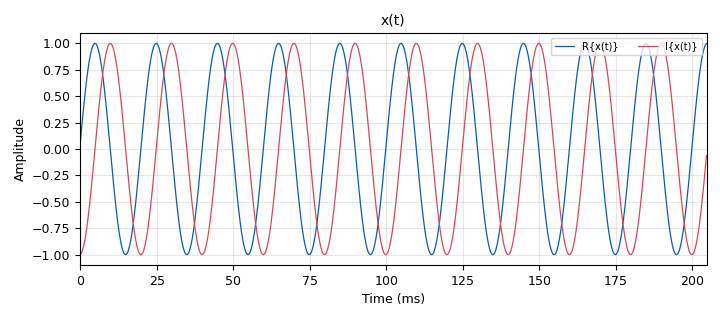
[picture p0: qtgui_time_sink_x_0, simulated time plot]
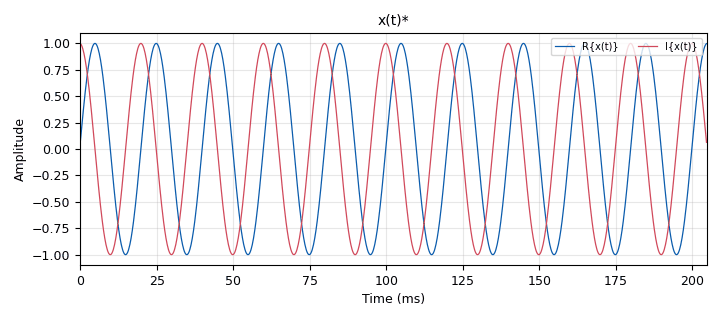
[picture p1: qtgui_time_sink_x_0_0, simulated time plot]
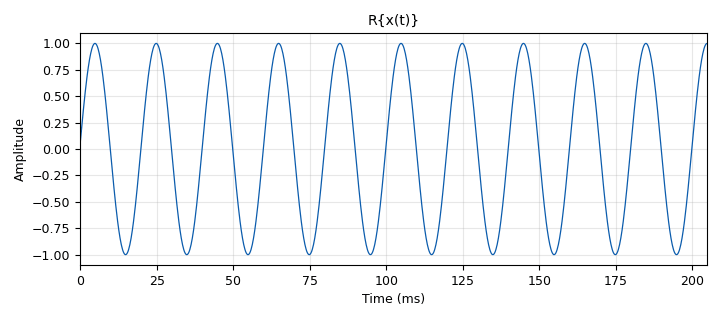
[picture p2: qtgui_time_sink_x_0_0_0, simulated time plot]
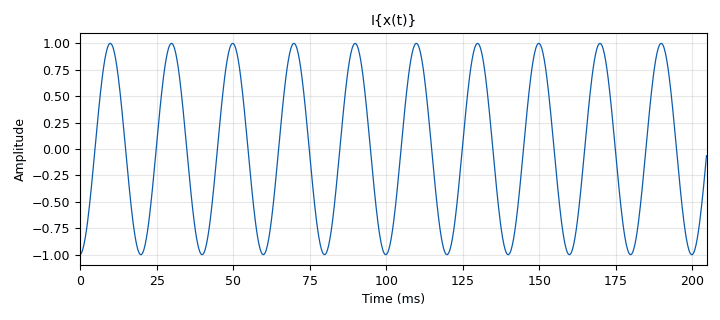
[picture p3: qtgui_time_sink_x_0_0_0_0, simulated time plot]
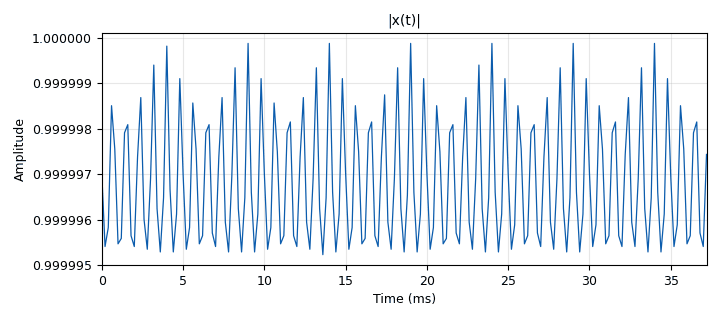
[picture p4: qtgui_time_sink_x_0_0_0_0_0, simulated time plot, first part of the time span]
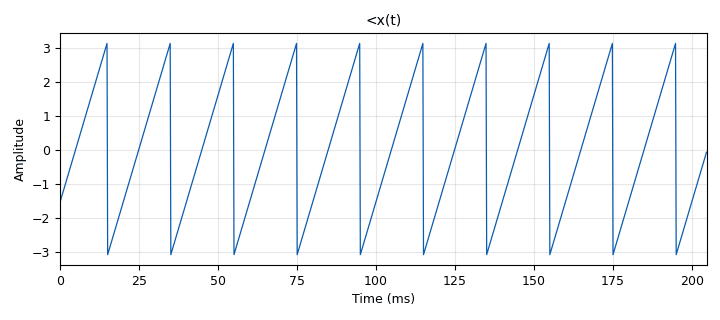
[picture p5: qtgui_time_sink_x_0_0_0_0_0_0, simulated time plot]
options:
  parameters:
    author: YAKOTT
    copyright: YAKOTT
    generate_options: qt_gui
    id: QT_DSP_Signal_5
    output_language: python
    title: QT_DSP_Signal_5
  states: {}

blocks:
- name: A
  id: variable_qtgui_range
  parameters:
    comment: Amplitude of the signal.
    orient: Qt.Horizontal
    start: '0'
    step: '1'
    stop: '10'
    value: '1'
  states: {}
- name: Phi
  id: variable_qtgui_range
  parameters:
    comment: Phase of the signal.
    orient: Qt.Horizontal
    start: '0'
    step: '0.1'
    stop: 2*math.pi
    value: '0'
  states: {}
- name: Tasa_de_Muestreo
  id: variable_qtgui_range
  parameters:
    comment: Sample Rate operation.
    orient: Qt.Horizontal
    start: 1e3
    step: '1'
    stop: 10e3
    value: 5e3
  states: {}
- name: fo
  id: variable_qtgui_range
  parameters:
    comment: Frequency  of the signal.
    orient: Qt.Horizontal
    start: '0'
    step: '1'
    stop: 1e3
    value: '50'
  states: {}
- name: samp_rate
  id: variable
  parameters:
    value: '32000'
  states: {}
- name: analog_sig_source_x_0
  id: analog_sig_source_x
  parameters:
    amp: A
    comment: Create a signal.
    freq: fo
    offset: Phi
    phase: '0'
    samp_rate: Tasa_de_Muestreo
    type: complex
    waveform: analog.GR_COS_WAVE
  states: {}
- name: blocks_complex_to_float_0
  id: blocks_complex_to_float
  parameters: {}
  states: {}
- name: blocks_complex_to_magphase_0
  id: blocks_complex_to_magphase
  parameters: {}
  states: {}
- name: blocks_conjugate_cc_0
  id: blocks_conjugate_cc
  parameters: {}
  states: {}
- name: blocks_throttle_0
  id: blocks_throttle
  parameters:
    comment: Reduce CPU usage.
    samples_per_second: Tasa_de_Muestreo
    type: complex
  states: {}
- name: import_0
  id: import
  parameters:
    imports: import math as math
  states: {}
- name: qtgui_time_sink_x_0
  id: qtgui_time_sink_x
  parameters:
    autoscale: 'True'
    comment: Plot signal over time.
    grid: 'True'
    label1: R{x(t)}
    label2: I{x(t)}
    name: '"x(t)"'
    size: '1024'
    srate: Tasa_de_Muestreo
    type: complex
  states: {}
- name: qtgui_time_sink_x_0_0
  id: qtgui_time_sink_x
  parameters:
    autoscale: 'True'
    comment: Plot signal over time.
    grid: 'True'
    label1: R{x(t)}
    label2: I{x(t)}
    name: '"x(t)*"'
    size: '1024'
    srate: Tasa_de_Muestreo
    type: complex
  states: {}
- name: qtgui_time_sink_x_0_0_0
  id: qtgui_time_sink_x
  parameters:
    autoscale: 'True'
    comment: Plot signal over time.
    grid: 'True'
    name: '"R{x(t)}"'
    size: '1024'
    srate: Tasa_de_Muestreo
    type: float
  states: {}
- name: qtgui_time_sink_x_0_0_0_0
  id: qtgui_time_sink_x
  parameters:
    autoscale: 'True'
    comment: Plot signal over time.
    grid: 'True'
    name: '"I{x(t)}"'
    size: '1024'
    srate: Tasa_de_Muestreo
    type: float
  states: {}
- name: qtgui_time_sink_x_0_0_0_0_0
  id: qtgui_time_sink_x
  parameters:
    autoscale: 'True'
    comment: Plot signal over time.
    grid: 'True'
    name: '"|x(t)|"'
    size: '1024'
    srate: Tasa_de_Muestreo
    type: float
  states: {}
- name: qtgui_time_sink_x_0_0_0_0_0_0
  id: qtgui_time_sink_x
  parameters:
    autoscale: 'True'
    comment: Plot signal over time.
    grid: 'True'
    name: '"<x(t)"'
    size: '1024'
    srate: Tasa_de_Muestreo
    type: float
  states: {}

connections:
- [analog_sig_source_x_0, '0', blocks_throttle_0, '0']
- [blocks_complex_to_float_0, '0', qtgui_time_sink_x_0_0_0, '0']
- [blocks_complex_to_float_0, '1', qtgui_time_sink_x_0_0_0_0, '0']
- [blocks_complex_to_magphase_0, '0', qtgui_time_sink_x_0_0_0_0_0, '0']
- [blocks_complex_to_magphase_0, '1', qtgui_time_sink_x_0_0_0_0_0_0, '0']
- [blocks_conjugate_cc_0, '0', qtgui_time_sink_x_0_0, '0']
- [blocks_throttle_0, '0', blocks_complex_to_float_0, '0']
- [blocks_throttle_0, '0', blocks_complex_to_magphase_0, '0']
- [blocks_throttle_0, '0', blocks_conjugate_cc_0, '0']
- [blocks_throttle_0, '0', qtgui_time_sink_x_0, '0']

metadata:
  file_format: 1
